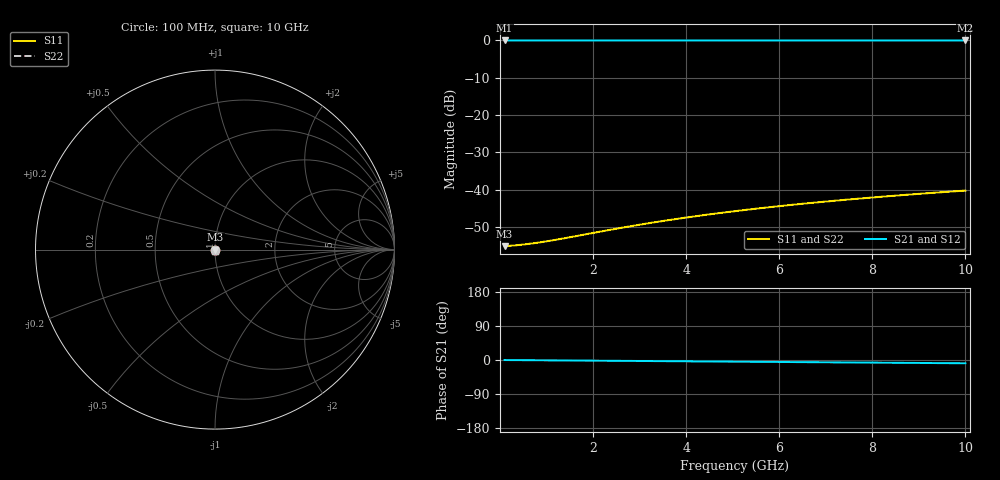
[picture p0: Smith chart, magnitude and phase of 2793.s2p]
# Hz S RI R 50.00
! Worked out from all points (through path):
!   100 points, 100 MHz to 10 GHz, reference 50 ohm
!   highest |S21| = -0.02 dB at 100 MHz (marker M1); lowest = 0.0 dB at 10 GHz (marker M2)
!   group delay of S21, straight-line fit = 2.41 ps
!   lowest |S11| = -55.1 dB at 100 MHz (marker M3), VSWR 1.00, Z = 50.2 - j0.00987 ohm
!   |S11| at or under -10 dB: start of sweep to end of sweep
!   |S22| runs from -55.1 to -40.2 dB; largest |S21 - S12| = 0
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1e8  0.00176 -9.83e-05  0.9982 -0.00151  0.9982 -0.00151  0.00176 -9.83e-05
3e8  0.00178 -0.000295  0.9982 -0.00452  0.9982 -0.00452  0.00178 -0.000295
5e8  0.00179 -0.000492  0.9982 -0.00753  0.9982 -0.00753  0.00179 -0.000492
8e8  0.00179 -0.000787  0.9981 -0.0121  0.9981 -0.0121  0.00179 -0.000787
1e9  0.0018 -0.000984  0.9981 -0.0151  0.9981 -0.0151  0.0018 -0.000984
1.2e9  0.00179 -0.00118  0.998 -0.0181  0.998 -0.0181  0.00179 -0.00118
1.8e9  0.00178 -0.00177  0.9978 -0.0271  0.9978 -0.0271  0.00178 -0.00177
2.3e9  0.00176 -0.00226  0.9975 -0.0346  0.9975 -0.0346  0.00176 -0.00226
2.7e9  0.00174 -0.00266  0.9973 -0.0407  0.9973 -0.0407  0.00174 -0.00266
3.1e9  0.00171 -0.00305  0.997 -0.0467  0.997 -0.0467  0.00171 -0.00305
3.4e9  0.00168 -0.00335  0.9968 -0.0512  0.9968 -0.0512  0.00168 -0.00335
3.8e9  0.00165 -0.00374  0.9964 -0.0572  0.9964 -0.0572  0.00165 -0.00374
4.2e9  0.00161 -0.00413  0.9961 -0.0633  0.9961 -0.0633  0.00161 -0.00413
4.6e9  0.00156 -0.00453  0.9956 -0.0693  0.9956 -0.0693  0.00156 -0.00453
5.1e9  0.00149 -0.00502  0.9951 -0.0768  0.9951 -0.0768  0.00149 -0.00502
5.5e9  0.00144 -0.00541  0.9946 -0.0828  0.9946 -0.0828  0.00144 -0.00541
5.9e9  0.00137 -0.0058  0.994 -0.0888  0.994 -0.0888  0.00137 -0.0058
6.7e9  0.00123 -0.00658  0.9929 -0.1008  0.9929 -0.1008  0.00123 -0.00658
7.5e9  0.00107 -0.00736  0.9916 -0.1128  0.9916 -0.1128  0.00107 -0.00736
8.4e9  0.000874 -0.00823  0.9899 -0.1263  0.9899 -0.1263  0.000874 -0.00823
9.2e9  0.000676 -0.009  0.9883 -0.1383  0.9883 -0.1383  0.000676 -0.009
1e10  0.00046 -0.00977  0.9865 -0.1502  0.9865 -0.1502  0.00046 -0.00977
